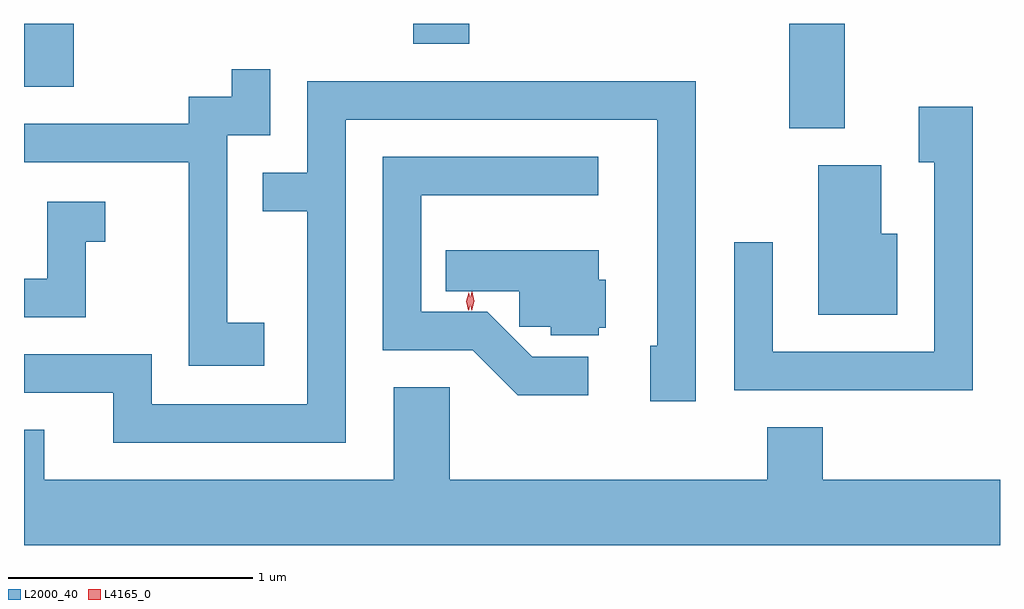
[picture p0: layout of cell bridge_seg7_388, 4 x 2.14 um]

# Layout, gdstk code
import gdstk
lib = gdstk.Library(unit=1e-6, precision=1e-09)
def R(c, l, rs):  # rectangles x0, y0, x1, y1
    for r in rs: c.add(gdstk.rectangle(r[:2], r[2:], *l))
def P(c, l, *ps):  # polygons
    for p in ps: c.add(gdstk.Polygon(p, *l))
L2000_40 = (2000, 40)
L4165_0 = (4165, 0)

bridge_seg7_388 = lib.new_cell('bridge_seg7_388')
R(bridge_seg7_388, L2000_40, [(1106.821,1749.326,1107.049,1749.754), (1103.685,1749.496,1103.889,1749.754), (1105.281,1749.671,1105.509,1749.754)])
P(bridge_seg7_388, L2000_40, [(1104.669,1748.529),(1104.519,1748.529),(1104.519,1749.296),(1104.694,1749.296),(1104.694,1749.568),(1104.536,1749.568),(1104.536,1749.454),(1104.361,1749.454),(1104.361,1749.344),(1103.685,1749.344),(1103.685,1749.186),(1104.361,1749.186),(1104.361,1748.351),(1104.669,1748.351)],
  [(1105.004,1749.361),(1106.281,1749.361),(1106.281,1748.434),(1106.251,1748.434),(1106.251,1748.206),(1106.439,1748.206),(1106.439,1749.519),(1104.846,1749.519),(1104.846,1749.144),(1104.663,1749.144),(1104.663,1748.986),(1104.846,1748.986),(1104.846,1748.194),(1104.209,1748.194),(1104.209,1748.399),(1103.685,1748.399),(1103.685,1748.241),(1104.051,1748.241),(1104.051,1748.036),(1105.004,1748.036)],
  [(1107.574,1749.414),(1107.351,1749.414),(1107.351,1749.186),(1107.416,1749.186),(1107.416,1748.409),(1106.754,1748.409),(1106.754,1748.858),(1106.596,1748.858),(1106.596,1748.251),(1107.574,1748.251)],
  [(1105.998,1748.389),(1105.768,1748.389),(1105.583,1748.574),(1105.314,1748.574),(1105.314,1749.051),(1106.038,1749.051),(1106.038,1749.209),(1105.156,1749.209),(1105.156,1748.416),(1105.524,1748.416),(1105.709,1748.231),(1105.998,1748.231)],
  [(1107.264,1748.894),(1107.199,1748.894),(1107.199,1749.174),(1106.941,1749.174),(1106.941,1748.561),(1107.264,1748.561)],
  [(1103.939,1748.861),(1104.018,1748.861),(1104.018,1749.024),(1103.781,1749.024),(1103.781,1748.709),(1103.685,1748.709),(1103.685,1748.551),(1103.939,1748.551)],
  [(1106.04,1748.507),(1106.07,1748.507),(1106.07,1748.705),(1106.04,1748.705),(1106.04,1748.825),(1105.414,1748.825),(1105.414,1748.657),(1105.714,1748.657),(1105.714,1748.511),(1105.843,1748.511),(1105.843,1748.477),(1106.04,1748.477)],
  [(1107.685,1747.884),(1106.959,1747.884),(1106.959,1748.099),(1106.731,1748.099),(1106.731,1747.884),(1105.429,1747.884),(1105.429,1748.264),(1105.201,1748.264),(1105.201,1747.884),(1103.769,1747.884),(1103.769,1748.089),(1103.685,1748.089),(1103.685,1747.616),(1107.685,1747.616)])
P(bridge_seg7_388, L4165_0, [(1105.521,1748.577),(1105.52,1748.578),(1105.511,1748.616),(1105.521,1748.655),(1105.522,1748.655),(1105.522,1748.655),(1105.531,1748.616),(1105.521,1748.578)],
  [(1105.506,1748.579),(1105.506,1748.58),(1105.497,1748.616),(1105.507,1748.652),(1105.508,1748.653),(1105.508,1748.652),(1105.517,1748.616),(1105.507,1748.58)])

lib.write_gds('bridge_seg7_388.gds')
